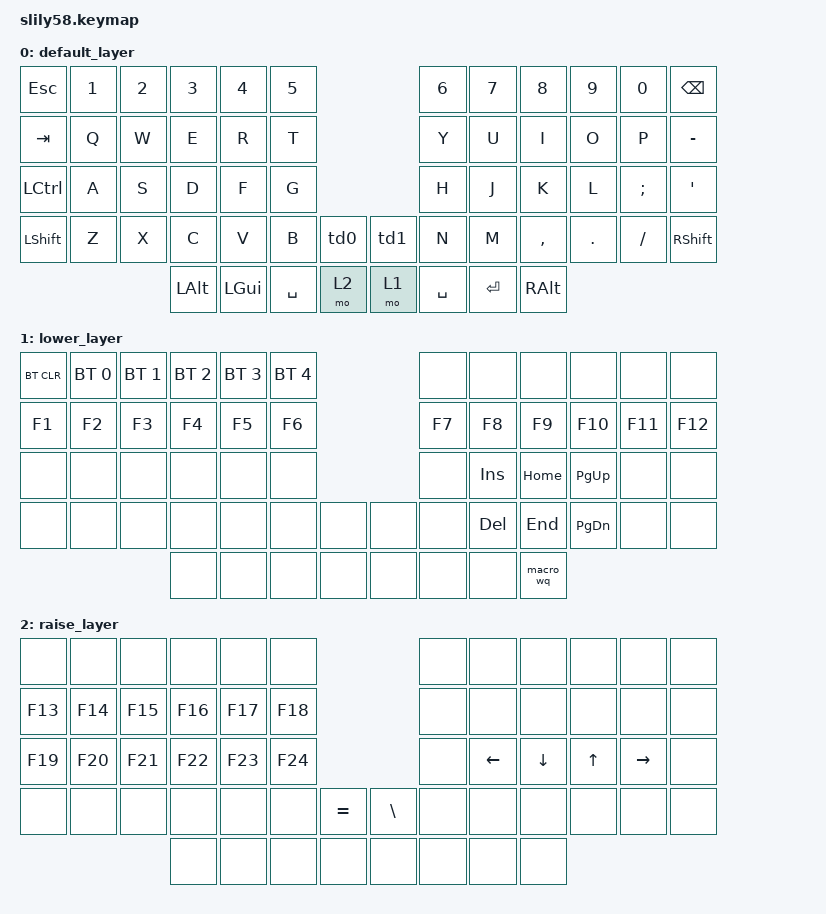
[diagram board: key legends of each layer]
/*
 * Copyright (c) 2020 The ZMK Contributors
 *
 * SPDX-License-Identifier: MIT
 */

#include <behaviors.dtsi>
#include <dt-bindings/zmk/keys.h>
#include <dt-bindings/zmk/bt.h>
#include <dt-bindings/zmk/ext_power.h>

/ {
    macros {
        macro_wq: macro_wq {
            compatible = "zmk,behavior-macro";
            label = "macro_wq";
            #binding-cells = <0>;
            bindings = <&kp ESCAPE &kp COLON &kp W &kp Q &kp ENTER>;
            tap-ms = <20>;
        };
    };

    behaviors {
        td0: tap_dance_0 {
            compatible = "zmk,behavior-tap-dance";
            label = "TAP_DANCE_0";
            #binding-cells = <0>;
            tapping-term-ms = <200>;
            bindings =
                <&kp LBKT>,
                <&kp LBRC>,
                <&kp C_PREV>;
        };
        td1: tap_dance_1 {
            compatible = "zmk,behavior-tap-dance";
            label = "TAP_DANCE_1";
            #binding-cells = <0>;
            tapping-term-ms = <200>;
            bindings =
                <&kp RBKT>,
                <&kp RBRC>,
                <&kp C_NEXT>;
        };
    };

    keymap {
        compatible = "zmk,keymap";

        default_layer {
            bindings = <
   &kp ESC  &kp N1  &kp N2    &kp N3    &kp N4     &kp N5                     &kp N6     &kp N7     &kp N8      &kp N9         &kp N0     &kp BACKSPACE
   &kp TAB   &kp Q   &kp W     &kp E     &kp R      &kp T                      &kp Y      &kp U      &kp I       &kp O          &kp P         &kp MINUS
 &kp LCTRL   &kp A   &kp S     &kp D     &kp F      &kp G                      &kp H      &kp J      &kp K       &kp L  &kp SEMICOLON  &kp SINGLE_QUOTE
 &kp LSHFT   &kp Z   &kp X     &kp C     &kp V      &kp B    &td0    &td1      &kp N      &kp M  &kp COMMA  &kp PERIOD      &kp SLASH        &kp RSHIFT
                            &kp LALT  &kp LGUI  &kp SPACE   &mo 2   &mo 1  &kp SPACE  &kp ENTER   &kp RALT
            >;
        };

        lower_layer {
            bindings = <
 &bt BT_CLR  &bt BT_SEL 0  &bt BT_SEL 1  &bt BT_SEL 2  &bt BT_SEL 3  &bt BT_SEL 4                   &none       &none      &none          &none    &none    &none
     &kp F1        &kp F2        &kp F3        &kp F4        &kp F5        &kp F6                  &kp F7      &kp F8     &kp F9        &kp F10  &kp F11  &kp F12
      &none         &none         &none         &none         &none         &none                   &none  &kp INSERT   &kp HOME    &kp PAGE_UP    &none    &none
      &none         &none         &none         &none         &none         &none   &none   &none   &none  &kp DELETE    &kp END  &kp PAGE_DOWN    &none    &none
                                                &none         &none         &none   &none   &none   &none       &none  &macro_wq
            >;
        };

        raise_layer {
            bindings = <
   &none    &none    &none    &none    &none    &none                        &none     &none     &none   &none      &none   &none
 &kp F13  &kp F14  &kp F15  &kp F16  &kp F17  &kp F18                        &none     &none     &none   &none      &none   &none
 &kp F19  &kp F20  &kp F21  &kp F22  &kp F23  &kp F24                        &none  &kp LEFT  &kp DOWN  &kp UP  &kp RIGHT   &none
   &none    &none    &none    &none    &none    &none  &kp EQUAL  &kp BSLH   &none     &none     &none   &none      &none   &none
                              &none    &none    &none      &none     &none   &none     &none     &none
            >;
        };
    };
};
